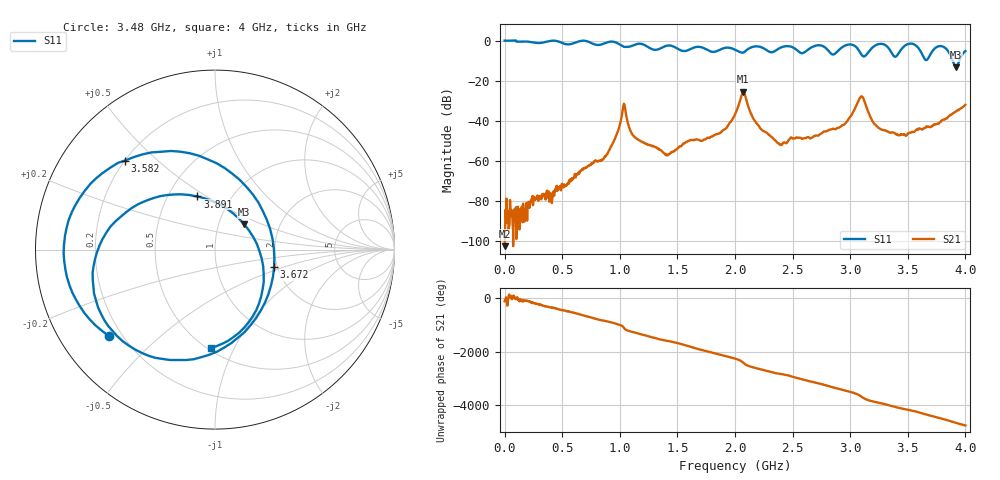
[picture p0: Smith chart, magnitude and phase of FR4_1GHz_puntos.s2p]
! NanoVNA-App
! Date: 2025-10-01 20:01:10
! Start: 10kHz Stop: 4GHz Points: 1024
! S-Parameter data: F S11 S21 S12 S22
# Hz S RI R 50
!  Frequency  S11_Real  S11_Imag  S21_Real  S21_Imag  S12_Real  S12_Imag  S22_Real  S22_Imag
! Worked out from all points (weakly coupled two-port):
!   1024 points, 10 kHz to 4 GHz, reference 50 ohm
!   highest |S21| = -25.56 dB at 2.072 GHz (marker M1); lowest = -102.8 dB at 10 kHz (marker M2)
!   lowest |S11| = -13.3 dB at 3.918 GHz (marker M3), VSWR 1.55, Z = 66.2 + j19.5 ohm
!   |S11| at or under -10 dB: 3.89 GHz to 3.948 GHz (57.77 MHz wide, 1.47 % of centre)
!   S12 and S22 are empty: the file has one direction only
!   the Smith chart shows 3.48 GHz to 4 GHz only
!   S11 on the Smith chart (normalised r, x): 3.48 GHz: 0.15, -0.35; 3.582 GHz: 0.20, +0.40; 3.672 GHz: 1.92, -0.42; 3.891 GHz: 0.70, +0.46; 4 GHz: 0.52, -0.81
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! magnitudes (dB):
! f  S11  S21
! 10 kHz  0.0  -102.8
! 394.9 MHz  -0.2  -76.3
! 668.6 MHz  -0.1  -64.9
! 875.9 MHz  -1.2  -58.0
! 1.036 GHz  -3.1  -31.6
! 1.122 GHz  -2.2  -47.9
! 1.333 GHz  -4.4  -53.9
! 1.857 GHz  -4.9  -46.5
! 2.002 GHz  -4.6  -36.7
! 2.072 GHz  -6.0  -25.6
! 2.381 GHz  -3.9  -51.4
! 2.667 GHz  -3.3  -48.6
! 2.952 GHz  -2.6  -41.8
! 3.097 GHz  -6.9  -27.9
! 3.335 GHz  -3.9  -45.7
! 3.48 GHz  -2.3  -47.4
! 3.582 GHz  -3.0  -44.6
! 3.672 GHz  -9.3  -43.0
! 3.789 GHz  -2.8  -40.5
! 3.891 GHz  -10.1  -36.5
! 3.918 GHz  -13.3  -35.4
! 4 GHz  -5.2  -32.1
